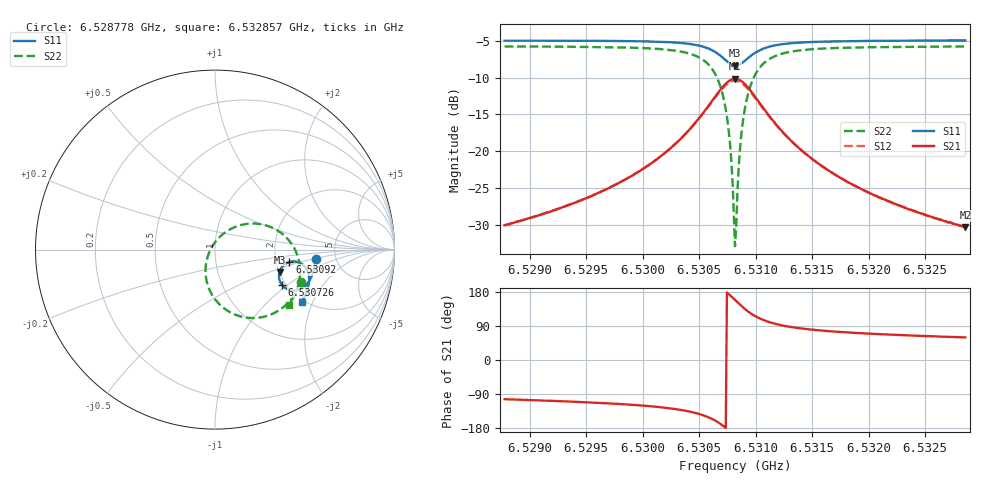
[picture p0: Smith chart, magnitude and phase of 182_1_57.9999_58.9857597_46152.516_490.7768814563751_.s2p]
#  HZ  S  RI  R  50.00
! Rohde & Schwarz Vector Network Analyzer
! Rohde-Schwarz,ZNB20-2Port,1311601062101988,3.16
! Created: UTC 3/21/2024, 12:58:22 AM
! freq[Hz]  re:S11  im:S11  re:S21  im:S21  re:S12  im:S12  re:S22  im:S22
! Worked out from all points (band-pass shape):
!   401 points, 6.528778 GHz to 6.532857 GHz, reference 50 ohm
!   highest |S21| = -10.17 dB at 6.530818 GHz (marker M1); lowest = -30.3 dB at 6.532857 GHz (marker M2)
!   |S21| within 3 dB of the highest: 6.530615 GHz to 6.531022 GHz (407.6 kHz wide, 0.00624 % of centre)
!   lowest |S11| = -8.4 dB at 6.530818 GHz (marker M3), VSWR 2.23, Z = 100 - j29.3 ohm
!   |S11| at or under -10 dB: nowhere
!   |S22| runs from -32.9 to -5.8 dB; largest |S21 - S12| = 0.013
!   S11 on the Smith chart (normalised r, x): 6.528778 GHz: 3.49, -0.52; 6.530726 GHz: 1.91, -0.90; 6.53092 GHz: 2.37, -0.40; 6.532857 GHz: 1.93, -1.66
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6.5287779e9  0.5604 -0.0505  -0.00725 -0.0306  -0.00795 -0.0304  0.4814 -0.1796
6.5294612e9  0.5511 -0.1079  -0.0168 -0.0436  -0.0178 -0.0433  0.4496 -0.243
6.5301445e9  0.524 -0.1768  -0.0509 -0.0748  -0.053 -0.0734  0.3662 -0.3319
6.530379e9  0.4974 -0.2073  -0.0908 -0.0947  -0.0938 -0.0914  0.2845 -0.371
6.5305524e9  0.4538 -0.2274  -0.1596 -0.1013  -0.1621 -0.0946  0.1569 -0.3757
6.5306544e9  0.4083 -0.2225  -0.2301 -0.0748  -0.2292 -0.0648  0.039 -0.3177
6.5307258e9  0.3726 -0.1953  -0.2819 -0.0156  -0.2761 -0.00528  -0.037 -0.2081
6.5307666e9  0.3591 -0.1672  -0.2981 0.0379  -0.2889 0.0464  -0.0531 -0.1163
6.5307767e9  0.3574 -0.1591  -0.2991 0.053  -0.2894 0.0606  -0.0517 -0.0914
6.5308073e9  0.3576 -0.1335  -0.2934 0.0992  -0.2822 0.1039  -0.0329 -0.0172
6.5308175e9  0.3594 -0.1249  -0.2884 0.1141  -0.2771 0.1179  -0.0218 0.00628
6.5308277e9  0.3623 -0.1167  -0.2819 0.1286  -0.2706 0.1313  -0.00852 0.0288
6.5308379e9  0.366 -0.1088  -0.274 0.1423  -0.2628 0.1439  0.00704 0.0496
6.5308583e9  0.3756 -0.0946  -0.2549 0.1666  -0.2441 0.1665  0.0431 0.0855
6.5308787e9  0.3874 -0.0831  -0.2321 0.186  -0.2225 0.1845  0.084 0.113
6.5309195e9  0.4145 -0.0692  -0.1827 0.2095  -0.1758 0.2063  0.1698 0.1422
6.5309909e9  0.458 -0.0684  -0.1065 0.2117  -0.1029 0.2084  0.2976 0.1305
6.5310929e9  0.4962 -0.0902  -0.0412 0.1803  -0.0393 0.1786  0.4031 0.0614
6.5312459e9  0.5187 -0.1262  -0.00142 0.1334  -0.00024 0.1328  0.4605 -0.035
6.5315008e9  0.5247 -0.1697  0.0153 0.0873  0.0165 0.0869  0.4741 -0.1331
6.5321841e9  0.5077 -0.2412  0.0178 0.0419  0.0185 0.0416  0.4449 -0.2494
6.5328572e9  0.4828 -0.2927  0.0154 0.0263  0.0159 0.0261  0.4097 -0.3093
